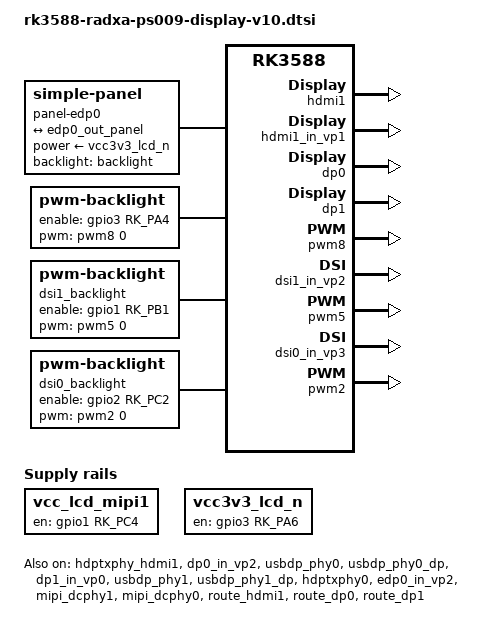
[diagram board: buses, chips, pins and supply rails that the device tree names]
// SPDX-License-Identifier: (GPL-2.0+ OR MIT)
/*
 * Copyright (c) 2022 Radxa Limited.
 *
 */
/
{
	/************************************edp *******************************************/
	panel-edp0 {
        compatible = "simple-panel";
        backlight = <&backlight>;
        power-supply = <&vcc3v3_lcd_n>;
		init-delay-ms = <120>;
        prepare-delay-ms = <120>;
        enable-delay-ms = <120>;
        unprepare-delay-ms = <120>;
        disable-delay-ms = <120>;
        width-mm = <129>;
        height-mm = <171>;

        panel-timing {
            clock-frequency = <241500000>;
            hactive = <2560>;
            vactive = <1440>;
            hfront-porch = <80>;
            hsync-len = <32>;
            hback-porch = <48>;
            vfront-porch = <31>;
            vsync-len = <5>;
            vback-porch = <3>;
            hsync-active = <0>;
            vsync-active = <0>;
            de-active = <0>;
            pixelclk-active = <0>;
        };

        port {
            panel_in_edp0: endpoint {
                remote-endpoint = <&edp0_out_panel>;
            };
        };
    }; 
	
	backlight: backlight {
        compatible = "pwm-backlight";
		pwms = <&pwm8 0 1000000 0>;
        brightness-levels = <
              0  20  20  21  21  22  22  23
             23  24  24  25  25  26  26  27
             27  28  28  29  29  30  30  31
             31  32  32  33  33  34  34  35
             35  36  36  37  37  38  38  39
             40  41  42  43  44  45  46  47
             48  49  50  51  52  53  54  55
             56  57  58  59  60  61  62  63
             64  65  66  67  68  69  70  71
             72  73  74  75  76  77  78  79
             80  81  82  83  84  85  86  87
             88  89  90  91  92  93  94  95
             96  97  98  99 100 101 102 103
            104 105 106 107 108 109 110 111
            112 113 114 115 116 117 118 119
            120 121 122 123 124 125 126 127
            128 129 130 131 132 133 134 135
            136 137 138 139 140 141 142 143
            144 145 146 147 148 149 150 151
            152 153 154 155 156 157 158 159
            160 161 162 163 164 165 166 167
            168 169 170 171 172 173 174 175
            176 177 178 179 180 181 182 183
            184 185 186 187 188 189 190 191
            192 193 194 195 196 197 198 199
            200 201 202 203 204 205 206 207
            208 209 210 211 212 213 214 215
            216 217 218 219 220 221 222 223
            224 225 226 227 228 229 230 231
            232 233 234 235 236 237 238 239
            240 241 242 243 244 245 246 247
            248 249 250 251 252 253 254 255
        >;
        default-brightness-level = <200>;
		enable-gpios = <&gpio3 RK_PA4 GPIO_ACTIVE_HIGH>;
    };

/************************************dsi0~1 *******************************************/
	vcc_lcd_mipi1: vcc-lcd-mipi1 {
		status = "okay";
		compatible = "regulator-fixed";
		regulator-name = "vcc_lcd_mipi1";
		gpio = <&gpio1 RK_PC4 GPIO_ACTIVE_HIGH>;
		enable-active-high;
		regulator-boot-on;
		regulator-state-mem {
			regulator-off-in-suspend;
		};
	};

	dsi1_backlight: dsi1-backlight {
		status = "okay";
		compatible = "pwm-backlight";
		pwms = <&pwm5 0 25000 0>;
		brightness-levels = <
			  0  20  20  21  21  22  22  23
			 23  24  24  25  25  26  26  27
			 27  28  28  29  29  30  30  31
			 31  32  32  33  33  34  34  35
			 35  36  36  37  37  38  38  39
			 40  41  42  43  44  45  46  47
			 48  49  50  51  52  53  54  55
			 56  57  58  59  60  61  62  63
			 64  65  66  67  68  69  70  71
			 72  73  74  75  76  77  78  79
			 80  81  82  83  84  85  86  87
			 88  89  90  91  92  93  94  95
			 96  97  98  99 100 101 102 103
			104 105 106 107 108 109 110 111
			112 113 114 115 116 117 118 119
			120 121 122 123 124 125 126 127
			128 129 130 131 132 133 134 135
			136 137 138 139 140 141 142 143
			144 145 146 147 148 149 150 151
			152 153 154 155 156 157 158 159
			160 161 162 163 164 165 166 167
			168 169 170 171 172 173 174 175
			176 177 178 179 180 181 182 183
			184 185 186 187 188 189 190 191
			192 193 194 195 196 197 198 199
			200 201 202 203 204 205 206 207
			208 209 210 211 212 213 214 215
			216 217 218 219 220 221 222 223
			224 225 226 227 228 229 230 231
			232 233 234 235 236 237 238 239
			240 241 242 243 244 245 246 247
			248 249 250 251 252 253 254 255
		>;
		default-brightness-level = <200>;
		enable-gpios = <&gpio1 RK_PB1 GPIO_ACTIVE_HIGH>;
	};

	dsi0_backlight: dsi0-backlight {
		status = "okay";
		compatible = "pwm-backlight";
		pwms = <&pwm2 0 25000 0>;
		brightness-levels = <
			  0  20  20  21  21  22  22  23
			 23  24  24  25  25  26  26  27
			 27  28  28  29  29  30  30  31
			 31  32  32  33  33  34  34  35
			 35  36  36  37  37  38  38  39
			 40  41  42  43  44  45  46  47
			 48  49  50  51  52  53  54  55
			 56  57  58  59  60  61  62  63
			 64  65  66  67  68  69  70  71
			 72  73  74  75  76  77  78  79
			 80  81  82  83  84  85  86  87
			 88  89  90  91  92  93  94  95
			 96  97  98  99 100 101 102 103
			104 105 106 107 108 109 110 111
			112 113 114 115 116 117 118 119
			120 121 122 123 124 125 126 127
			128 129 130 131 132 133 134 135
			136 137 138 139 140 141 142 143
			144 145 146 147 148 149 150 151
			152 153 154 155 156 157 158 159
			160 161 162 163 164 165 166 167
			168 169 170 171 172 173 174 175
			176 177 178 179 180 181 182 183
			184 185 186 187 188 189 190 191
			192 193 194 195 196 197 198 199
			200 201 202 203 204 205 206 207
			208 209 210 211 212 213 214 215
			216 217 218 219 220 221 222 223
			224 225 226 227 228 229 230 231
			232 233 234 235 236 237 238 239
			240 241 242 243 244 245 246 247
			248 249 250 251 252 253 254 255
		>;
		default-brightness-level = <200>;
		enable-gpios = <&gpio2 RK_PC2 GPIO_ACTIVE_HIGH>;
	};
};

/************************************hdmi*******************************************/
&hdmi0 {
	status = "disabled";
};

&hdptxphy_hdmi0 {
	status = "disabled";
};

&hdmi0_in_vp0 {
	status = "disabled";
};

&hdmi1 {
	enable-gpios = <&gpio4 RK_PB1 GPIO_ACTIVE_HIGH>;
	status = "okay";
};

&hdptxphy_hdmi1 {
	status = "okay";
};

&hdmi1_in_vp1 {
	status = "okay";
};


/**********************************dp*********************************************/

&dp0 {
	status = "okay";
};

&dp0_in_vp2 {
	status = "okay";
};

&usbdp_phy0 {
	status = "okay";
};

&usbdp_phy0_dp {
	status = "okay";
};

&dp1 {
	pinctrl-names = "default";
	pinctrl-0 = <&dp1m0_pins>;
	status = "okay";
};

&dp1_in_vp0 {
	status = "okay";
};


&usbdp_phy1 {
	status = "okay";
	rockchip,dp-lane-mux = <2 3>;
};

&usbdp_phy1_dp {
	status = "okay";
};

/**********************************edp*********************************************/
&edp0 {
	force-hpd;
	disable-audio;
	status = "disabled";
	
	ports {
        port@1 {
            reg = <1>;

            edp0_out_panel: endpoint {
                remote-endpoint = <&panel_in_edp0>;
            };
        };
    };
};

&hdptxphy0 {
	status = "okay";
};
	
&hdptxphy_hdmi0 {
	status = "disabled";
};

&edp0_in_vp2 {
	status = "okay";
};

&vcc3v3_lcd_n {
	  compatible = "regulator-fixed";
	  regulator-name = "vcc3v3_lcd";
	  regulator-boot-on;
	  enable-active-high;
	  gpio = <&gpio3 RK_PA6 GPIO_ACTIVE_HIGH>;
};

&pwm8 {
	pinctrl-names = "active";
	pinctrl-0 = <&pwm8m0_pins>;
	status = "okay";
};
/**********************************dsi*********************************************/
//dsi1
&dsi1 {
	status = "disabled";
	rockchip,lane-rate = <480>;
	dsi1_panel: panel@0 {
		status = "okay";
	//	compatible ="radxa,display-8hd";
		compatible ="radxa,display-10hd-a";
		reg = <0>;
		backlight = <&dsi1_backlight>;

		vdd-supply = <&vcc_lcd_mipi1>;
		vccio-supply = <&vcc_1v8_s0>;
		reset-gpios = <&gpio4 RK_PC6 GPIO_ACTIVE_HIGH>;
		pinctrl-names = "default";
		pinctrl-0 = <&dsi1_lcd_rst_gpio>;
     	
		ports {
			#address-cells = <1>;
			#size-cells = <0>;

			port@0 {
				reg = <0>;
				panel_in_dsi1: endpoint {
					remote-endpoint = <&dsi1_out_panel>;
				};
			};
		};
	};

	ports {
		#address-cells = <1>;
		#size-cells = <0>;

		port@1 {
			reg = <1>;
			dsi1_out_panel: endpoint {
				remote-endpoint = <&panel_in_dsi1>;
			};
		};
	};
};

&mipi_dcphy1 {
	status = "okay";
};

&dsi1_in_vp2 {
	status = "okay";
};

&pwm5 {
	status = "okay";
	pinctrl-names = "active";
	pinctrl-0 = <&pwm5m2_pins>;
};

//dsi0
&dsi0 {
	status = "disabled";
	rockchip,lane-rate = <480>;
	dsi0_panel: panel@0 {
		status = "okay";
	//	compatible ="radxa,display-8hd";
		compatible ="radxa,display-10hd-a";
		reg = <0>;
		backlight = <&dsi0_backlight>;

		vdd-supply = <&vcc_lcd_mipi1>;
		vccio-supply = <&vcc_1v8_s0>;
		reset-gpios = <&gpio2 RK_PC1 GPIO_ACTIVE_HIGH>;
		pinctrl-names = "default";
		pinctrl-0 = <&dsi0_lcd_rst_gpio>;

		ports {
			#address-cells = <1>;
			#size-cells = <0>;

			port@0 {
				reg = <0>;
				panel_in_dsi0: endpoint {
					remote-endpoint = <&dsi0_out_panel>;
				};
			};
		};
	};

	ports {
		#address-cells = <1>;
		#size-cells = <0>;

		port@1 {
			reg = <1>;
			dsi0_out_panel: endpoint {
				remote-endpoint = <&panel_in_dsi0>;
			};
		};
	};
};

&mipi_dcphy0 {
	status = "okay";
};

&dsi0_in_vp3 {
	status = "okay";
};

&pwm2 {
	status = "okay";
	pinctrl-names = "active";
	pinctrl-0 = <&pwm2m2_pins>;
};

/******************************************************************************/

/*
&vp0 {
	assigned-clocks = <&cru DCLK_VOP0>;
	assigned-clock-parents = <&hdptxphy_hdmi_clk0>;
};

&vp1 {
	assigned-clocks = <&cru DCLK_VOP1>;
	assigned-clock-parents = <&hdptxphy_hdmi_clk1>;
};

*/

/******************************************************************************/
&display_subsystem {
};

/*******************************************************************************/
&route_hdmi1 {
	status = "okay";
	logo,uboot = "logo.bmp";
	logo,kernel = "logo_kernel.bmp";
	logo,mode = "center";
	charge_logo,mode = "center";
	connect = <&vp1_out_hdmi1>;
};

&route_dp0 {
	status = "okay";
	logo,uboot = "logo.bmp";
	logo,kernel = "logo_kernel.bmp";
	logo,mode = "center";
	charge_logo,mode = "center";
	connect = <&vp2_out_dp0>;
};

&route_dp1 {
	status = "okay";
	logo,uboot = "logo.bmp";
	logo,kernel = "logo_kernel.bmp";
	logo,mode = "center";
	charge_logo,mode = "center";
	connect = <&vp0_out_dp1>;
};

&route_edp0 {
	status = "disabled";
	logo,uboot = "logo.bmp";
	logo,kernel = "logo_kernel.bmp";
	logo,mode = "center";
	charge_logo,mode = "center";
	connect = <&vp2_out_edp0>;
};

&route_dsi1 {
	status = "disabled";
	logo,uboot = "logo.bmp";
	logo,kernel = "logo_kernel.bmp";
	logo,mode = "center";
	charge_logo,mode = "center";
	connect = <&vp2_out_dsi1>;
};

&route_dsi0 {
	status = "disabled";
	logo,uboot = "logo.bmp";
	logo,kernel = "logo_kernel.bmp";
	logo,mode = "center";
	charge_logo,mode = "center";
	connect = <&vp3_out_dsi0>;
};

&pinctrl {

	dsi1-lcd {
		dsi1_lcd_rst_gpio: dsi1-lcd-rst-gpio {
			rockchip,pins =
				<4 RK_PC6 RK_FUNC_GPIO &pcfg_pull_up>;
		};

	};

	dsi0-lcd {
		dsi0_lcd_rst_gpio: dsi0-lcd-rst-gpio {
			rockchip,pins =
				<2 RK_PC1 RK_FUNC_GPIO &pcfg_pull_up>;
		};

	};
};
